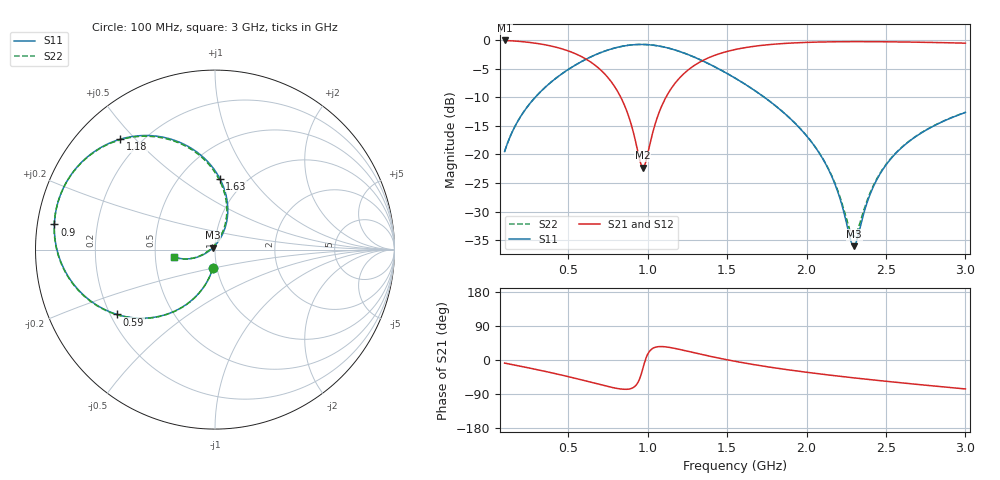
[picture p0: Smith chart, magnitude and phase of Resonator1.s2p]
! Sonnet Data File
! From: sonnet Version : 18.53-Lite
! From Emgraph Data:
! Data File Written: 04/02/2024 18:02:15
!< HDATE 04/02/2024 17:59:59
!< MDATE 04/02/2024 17:59:59
!< PARAMS
!< L_C1 = 18000.0
!< W_C1 = 8000.0
!< W = 500.0
!< W_L = 200.0
!< END PARAMS
# GHZ S MA R 50.00000
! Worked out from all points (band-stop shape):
!   291 points, 100 MHz to 3 GHz, reference 50 ohm
!   highest |S21| = -0.09 dB at 100 MHz (marker M1); lowest = -22.3 dB at 970 MHz (marker M2)
!   |S21| within 3 dB of the highest: start of sweep to 595.8 MHz; 1.386 GHz to end of sweep
!   lowest |S11| = -36.1 dB at 2.3 GHz (marker M3), VSWR 1.03, Z = 48.8 + j1.02 ohm
!   |S11| at or under -10 dB: start of sweep to 293.6 MHz; 1.733 GHz to end of sweep
!   |S22| runs from -34.4 to -0.8 dB; largest |S21 - S12| = 2e-12
!   S11 on the Smith chart (normalised r, x): 100 MHz: 0.95, -0.20; 590 MHz: 0.23, -0.29; 900 MHz: 0.05, +0.08; 1.18 GHz: 0.13, +0.45; 1.63 GHz: 0.76, +0.72; 3 GHz: 0.63, -0.05
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0.1  0.1059 -96.9  0.9901 -8.2  0.9901 -8.2  0.1059 -96.8
0.17  0.1809 -103.6  0.9774 -14.0  0.9774 -14.0  0.1809 -103.5
0.28  0.3012 -113.9  0.9428 -23.3  0.9428 -23.3  0.3011 -113.7
0.45  0.4938 -130.7  0.8447 -38.9  0.8447 -38.9  0.4938 -130.6
0.59  0.654 -146.5  0.708 -53.0  0.708 -53.0  0.6541 -146.2
0.78  0.8408 -171.3  0.4149 -72.7  0.4149 -72.7  0.841 -171.0
0.9  0.9055 171.1  0.176 -74.7  0.176 -74.7  0.9057 171.5
0.97  0.9136 160.6  0.07648 -22.6  0.07648 -22.6  0.9138 161.0
1.07  0.8854 145.8  0.228 35.3  0.228 35.3  0.8857 146.4
1.18  0.8112 130.7  0.4307 29.9  0.4307 29.9  0.8114 131.3
1.33  0.6725 112.8  0.642 15.6  0.642 15.6  0.6728 113.5
1.55  0.4645 92.2  0.8243 -3.4  0.8243 -3.4  0.4648 93.1
1.63  0.3965 86.1  0.8641 -9.4  0.8641 -9.4  0.3968 87.1
1.87  0.2227 71.3  0.934 -25.0  0.934 -25.0  0.223 72.8
2.04  0.1236 64.7  0.956 -34.5  0.956 -34.5  0.124 66.9
2.17  0.05906 65.9  0.9639 -41.1  0.9639 -41.1  0.06003 69.8
2.28  0.0173 110.2  0.9666 -46.3  0.9666 -46.3  0.02042 115.2
2.3  0.01574 138.7  0.9667 -47.2  0.9667 -47.2  0.01914 138.8
2.41  0.04824 -160.0  0.9662 -52.2  0.9662 -52.2  0.04955 -162.9
2.52  0.08765 -156.3  0.9636 -57.0  0.9636 -57.0  0.08848 -157.5
2.71  0.15 -160.1  0.9557 -64.9  0.9557 -64.9  0.1506 -160.4
3  0.2324 -169.8  0.9377 -76.4  0.9377 -76.4  0.2332 -169.5
